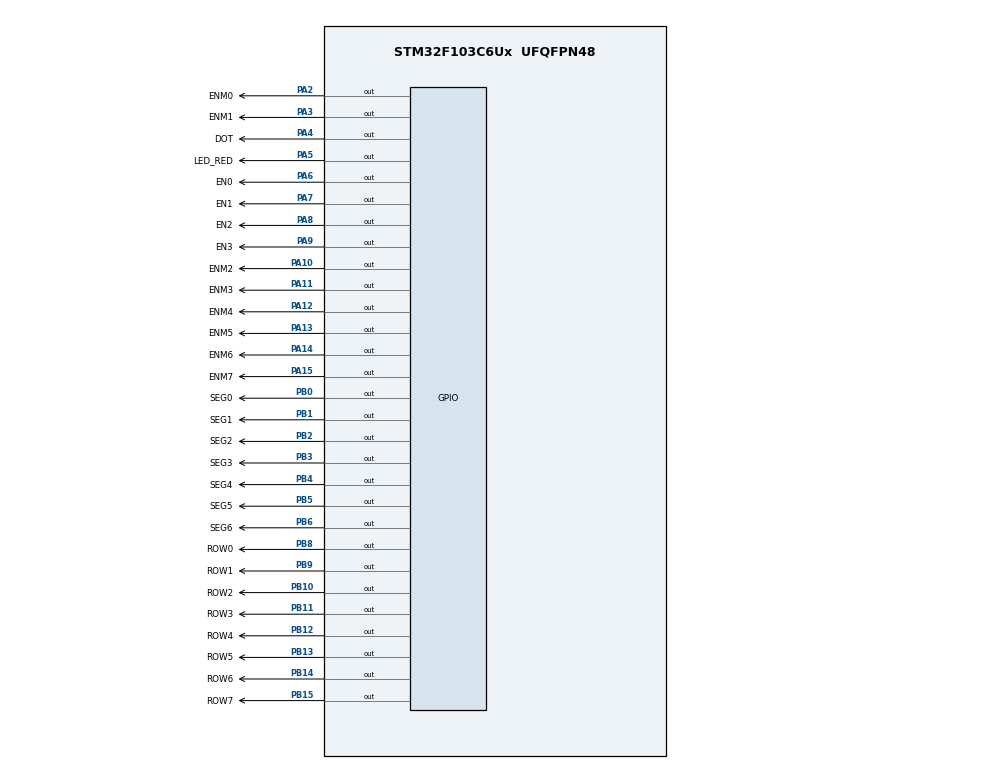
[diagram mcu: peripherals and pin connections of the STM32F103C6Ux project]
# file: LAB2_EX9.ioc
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Mcu.Family=STM32F1
Mcu.Name=STM32F103C6Ux
Mcu.Package=UFQFPN48
NVIC.PriorityGroup=NVIC_PRIORITYGROUP_4
NVIC.TIM2_IRQn=true\:0\:0\:false\:false\:true\:true\:true
PA10.GPIO_Label=ENM2
PA10.Signal=GPIO_Output
PA11.GPIO_Label=ENM3
PA11.Signal=GPIO_Output
PA12.GPIO_Label=ENM4
PA12.Signal=GPIO_Output
PA13.GPIO_Label=ENM5
PA13.Signal=GPIO_Output
PA14.GPIO_Label=ENM6
PA14.Signal=GPIO_Output
PA15.GPIO_Label=ENM7
PA15.Signal=GPIO_Output
PA2.GPIO_Label=ENM0
PA2.Signal=GPIO_Output
PA3.GPIO_Label=ENM1
PA3.Signal=GPIO_Output
PA4.GPIO_Label=DOT
PA4.Signal=GPIO_Output
PA5.GPIO_Label=LED_RED
PA5.Signal=GPIO_Output
PA6.GPIO_Label=EN0
PA6.Signal=GPIO_Output
PA7.GPIO_Label=EN1
PA7.Signal=GPIO_Output
PA8.GPIO_Label=EN2
PA8.Signal=GPIO_Output
PA9.GPIO_Label=EN3
PA9.Signal=GPIO_Output
PB0.GPIO_Label=SEG0
PB0.Signal=GPIO_Output
PB1.GPIO_Label=SEG1
PB1.Signal=GPIO_Output
PB10.GPIO_Label=ROW2
PB10.Signal=GPIO_Output
PB11.GPIO_Label=ROW3
PB11.Signal=GPIO_Output
PB12.GPIO_Label=ROW4
PB12.Signal=GPIO_Output
PB13.GPIO_Label=ROW5
PB13.Signal=GPIO_Output
PB14.GPIO_Label=ROW6
PB14.Signal=GPIO_Output
PB15.GPIO_Label=ROW7
PB15.Signal=GPIO_Output
PB2.GPIO_Label=SEG2
PB2.Signal=GPIO_Output
PB3.GPIO_Label=SEG3
PB3.Signal=GPIO_Output
PB4.GPIO_Label=SEG4
PB4.Signal=GPIO_Output
PB5.GPIO_Label=SEG5
PB5.Signal=GPIO_Output
PB6.GPIO_Label=SEG6
PB6.Signal=GPIO_Output
PB8.GPIO_Label=ROW0
PB8.Signal=GPIO_Output
PB9.GPIO_Label=ROW1
PB9.Signal=GPIO_Output
ProjectManager.HeapSize=0x200
ProjectManager.StackSize=0x400
ProjectManager.TargetToolchain=STM32CubeIDE
RCC.APB1Freq_Value=8000000
RCC.APB2Freq_Value=8000000
TIM2.Period=9
TIM2.Prescaler=7999
VP_SYS_VS_ND.Mode=No_Debug
VP_TIM2_VS_ClockSourceINT.Mode=Internal
board=custom

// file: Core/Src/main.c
/* USER CODE BEGIN Header */
/**
  ******************************************************************************
  * @file           : main.c
  * @brief          : Main program body
  ******************************************************************************
  * @attention
  *
  * <h2><center>&copy; Copyright (c) 2025 STMicroelectronics.
  * All rights reserved.</center></h2>
  *
  * This software component is licensed by ST under BSD 3-Clause license,
  * the "License"; You may not use this file except in compliance with the
  * License. You may obtain a copy of the License at:
  *                        opensource.org/licenses/BSD-3-Clause
  *
  ******************************************************************************
  */
/* USER CODE END Header */
#include "main.h"

/* USER CODE BEGIN Includes */
#include "software_timer.h"
/* USER CODE END Includes */

TIM_HandleTypeDef htim2;

/* USER CODE BEGIN PV */
#define ROW_ON   GPIO_PIN_RESET
#define ROW_OFF  GPIO_PIN_SET

#define ENM_ON   GPIO_PIN_RESET  // active-low enable
#define ENM_OFF  GPIO_PIN_SET

static inline uint8_t remap_rows(uint8_t v){ return v; }
static inline int phys_col(int logical_col){ return logical_col & 7; }

static inline void row_write(uint8_t m){
  HAL_GPIO_WritePin(GPIOB, ROW0_Pin, (m & (1<<0)) ? ROW_ON : ROW_OFF);
  HAL_GPIO_WritePin(GPIOB, ROW1_Pin, (m & (1<<1)) ? ROW_ON : ROW_OFF);
  HAL_GPIO_WritePin(GPIOB, ROW2_Pin, (m & (1<<2)) ? ROW_ON : ROW_OFF);
  HAL_GPIO_WritePin(GPIOB, ROW3_Pin, (m & (1<<3)) ? ROW_ON : ROW_OFF);
  HAL_GPIO_WritePin(GPIOB, ROW4_Pin, (m & (1<<4)) ? ROW_ON : ROW_OFF);
  HAL_GPIO_WritePin(GPIOB, ROW5_Pin, (m & (1<<5)) ? ROW_ON : ROW_OFF);
  HAL_GPIO_WritePin(GPIOB, ROW6_Pin, (m & (1<<6)) ? ROW_ON : ROW_OFF);
  HAL_GPIO_WritePin(GPIOB, ROW7_Pin, (m & (1<<7)) ? ROW_ON : ROW_OFF);
}

static inline void matrix_no_col(void){
  HAL_GPIO_WritePin(ENM0_GPIO_Port, ENM0_Pin, ENM_OFF);
  HAL_GPIO_WritePin(ENM1_GPIO_Port, ENM1_Pin, ENM_OFF);
  HAL_GPIO_WritePin(ENM2_GPIO_Port, ENM2_Pin, ENM_OFF);
  HAL_GPIO_WritePin(ENM3_GPIO_Port, ENM3_Pin, ENM_OFF);
  HAL_GPIO_WritePin(ENM4_GPIO_Port, ENM4_Pin, ENM_OFF);
  HAL_GPIO_WritePin(ENM5_GPIO_Port, ENM5_Pin, ENM_OFF);
  HAL_GPIO_WritePin(ENM6_GPIO_Port, ENM6_Pin, ENM_OFF);
  HAL_GPIO_WritePin(ENM7_GPIO_Port, ENM7_Pin, ENM_OFF);
}

static inline void matrix_yes_col(int col){
  switch(col & 7){
    case 0: HAL_GPIO_WritePin(ENM0_GPIO_Port, ENM0_Pin, ENM_ON); break;
    case 1: HAL_GPIO_WritePin(ENM1_GPIO_Port, ENM1_Pin, ENM_ON); break;
    case 2: HAL_GPIO_WritePin(ENM2_GPIO_Port, ENM2_Pin, ENM_ON); break;
    case 3: HAL_GPIO_WritePin(ENM3_GPIO_Port, ENM3_Pin, ENM_ON); break;
    case 4: HAL_GPIO_WritePin(ENM4_GPIO_Port, ENM4_Pin, ENM_ON); break;
    case 5: HAL_GPIO_WritePin(ENM5_GPIO_Port, ENM5_Pin, ENM_ON); break;
    case 6: HAL_GPIO_WritePin(ENM6_GPIO_Port, ENM6_Pin, ENM_ON); break;
    default:HAL_GPIO_WritePin(ENM7_GPIO_Port, ENM7_Pin, ENM_ON); break;
  }
}
unsigned char tbl7seg [] = {0xC0, 0xF9, 0xA4, 0xB0, 0x99, 0x92, 0x82, 0xF8, 0x80, 0x90};
static uint8_t matrix_buffer[8] = {
  0b00011000,
  0b00100100,
  0b01000010,
  0b01000010,
  0b01111110,
  0b01000010,
  0b01000010,
  0b01000010
};

static uint8_t index_led_matrix = 0;
//int currentLED = 0;
const int MAX_LED = 4;
int index_led = 0;
int led_buffer[4];
int hour = 23, minute = 59, second = 59;
/* USER CODE END PV */

void SystemClock_Config(void);
static void MX_GPIO_Init(void);
static void MX_TIM2_Init(void);

/* USER CODE BEGIN 0 */
void display7SEG(int num);
void update7SEG(int index);
void updateClockBuffer();
void updateLEDMatrix(int index);
/* USER CODE END 0 */

int main(void)
{

  /* MCU Configuration--------------------------------------------------------*/

  /* Reset of all peripherals, Initializes the Flash interface and the Systick. */
  HAL_Init();

  /* Configure the system clock */
  SystemClock_Config();

  /* Initialize all configured peripherals */
  MX_GPIO_Init();
  MX_TIM2_Init();
  /* USER CODE BEGIN 2 */
  HAL_TIM_Base_Start_IT(&htim2);
  updateClockBuffer();
  /* USER CODE END 2 */

  /* Infinite loop */
  /* USER CODE BEGIN WHILE */
  setTimer1(100);
  setTimer2(50);
  setTimer3(100);
  setTimer4(5);
  matrix_no_col();
  row_write(0x00);
  while (1)
  {
	// Cập nhật giây, phút, gi�?
	if (timer1_flag == 1) {
		setTimer1(100); // 1s lại cập nhật 1 lần
		second++;
		if (second >= 60) {
			second = 0;
			minute++;
		}
		if (minute >= 60) {
			minute = 0;
			hour++;
		}
		if (hour >= 24) {
			hour = 0;
		}
		updateClockBuffer();
	}

	// Quét LED liên tục (multiplex nhanh để hiển thị đồng th�?i 4 số)
	if (timer2_flag == 1) {
		setTimer2(50); // ~0.5s quét LED
		update7SEG(index_led);
		index_led = (index_led + 1) % MAX_LED;
	}

	// Blink DOT (PA4) và PA5
	if (timer3_flag == 1) {
		setTimer3(100); // 1s
		HAL_GPIO_TogglePin(LED_RED_GPIO_Port, LED_RED_Pin);
		HAL_GPIO_TogglePin(DOT_GPIO_Port, DOT_Pin);
	}
	if (timer4_flag == 1) {
		index_led_matrix = (index_led_matrix + 1) & 0x07;
		updateLEDMatrix(index_led_matrix);
		setTimer4(5);

	}
    /* USER CODE END WHILE */

  }
}

void SystemClock_Config(void)
{
  RCC_OscInitTypeDef RCC_OscInitStruct = {0};
  RCC_ClkInitTypeDef RCC_ClkInitStruct = {0};

  /** Initializes the RCC Oscillators according to the specified parameters
  * in the RCC_OscInitTypeDef structure.
  */
  RCC_OscInitStruct.OscillatorType = RCC_OSCILLATORTYPE_HSI;
  RCC_OscInitStruct.HSIState = RCC_HSI_ON;
  RCC_OscInitStruct.HSICalibrationValue = RCC_HSICALIBRATION_DEFAULT;
  RCC_OscInitStruct.PLL.PLLState = RCC_PLL_NONE;
  if (HAL_RCC_OscConfig(&RCC_OscInitStruct) != HAL_OK)
  {
    Error_Handler();
  }
  /** Initializes the CPU, AHB and APB buses clocks
  */
  RCC_ClkInitStruct.ClockType = RCC_CLOCKTYPE_HCLK|RCC_CLOCKTYPE_SYSCLK
                              |RCC_CLOCKTYPE_PCLK1|RCC_CLOCKTYPE_PCLK2;
  RCC_ClkInitStruct.SYSCLKSource = RCC_SYSCLKSOURCE_HSI;
  RCC_ClkInitStruct.AHBCLKDivider = RCC_SYSCLK_DIV1;
  RCC_ClkInitStruct.APB1CLKDivider = RCC_HCLK_DIV1;
  RCC_ClkInitStruct.APB2CLKDivider = RCC_HCLK_DIV1;

  if (HAL_RCC_ClockConfig(&RCC_ClkInitStruct, FLASH_LATENCY_0) != HAL_OK)
  {
    Error_Handler();
  }
}

static void MX_TIM2_Init(void)
{

  TIM_ClockConfigTypeDef sClockSourceConfig = {0};
  TIM_MasterConfigTypeDef sMasterConfig = {0};

  htim2.Instance = TIM2;
  htim2.Init.Prescaler = 7999;
  htim2.Init.CounterMode = TIM_COUNTERMODE_UP;
  htim2.Init.Period = 9;
  htim2.Init.ClockDivision = TIM_CLOCKDIVISION_DIV1;
  htim2.Init.AutoReloadPreload = TIM_AUTORELOAD_PRELOAD_DISABLE;
  if (HAL_TIM_Base_Init(&htim2) != HAL_OK)
  {
    Error_Handler();
  }
  sClockSourceConfig.ClockSource = TIM_CLOCKSOURCE_INTERNAL;
  if (HAL_TIM_ConfigClockSource(&htim2, &sClockSourceConfig) != HAL_OK)
  {
    Error_Handler();
  }
  sMasterConfig.MasterOutputTrigger = TIM_TRGO_RESET;
  sMasterConfig.MasterSlaveMode = TIM_MASTERSLAVEMODE_DISABLE;
  if (HAL_TIMEx_MasterConfigSynchronization(&htim2, &sMasterConfig) != HAL_OK)
  {
    Error_Handler();
  }

}

static void MX_GPIO_Init(void)
{
  GPIO_InitTypeDef GPIO_InitStruct = {0};

  /* GPIO Ports Clock Enable */
  __HAL_RCC_GPIOA_CLK_ENABLE();
  __HAL_RCC_GPIOB_CLK_ENABLE();

  /*Configure GPIO pin Output Level */
  HAL_GPIO_WritePin(GPIOA, ENM0_Pin|ENM1_Pin|DOT_Pin|LED_RED_Pin
                          |EN0_Pin|EN1_Pin|EN2_Pin|EN3_Pin
                          |ENM2_Pin|ENM3_Pin|ENM4_Pin|ENM5_Pin
                          |ENM6_Pin|ENM7_Pin, GPIO_PIN_RESET);

  /*Configure GPIO pin Output Level */
  HAL_GPIO_WritePin(GPIOB, SEG0_Pin|SEG1_Pin|SEG2_Pin|ROW2_Pin
                          |ROW3_Pin|ROW4_Pin|ROW5_Pin|ROW6_Pin
                          |ROW7_Pin|SEG3_Pin|SEG4_Pin|SEG5_Pin
                          |SEG6_Pin|ROW0_Pin|ROW1_Pin, GPIO_PIN_RESET);

  /*Configure GPIO pins : ENM0_Pin ENM1_Pin DOT_Pin LED_RED_Pin
                           EN0_Pin EN1_Pin EN2_Pin EN3_Pin
                           ENM2_Pin ENM3_Pin ENM4_Pin ENM5_Pin
                           ENM6_Pin ENM7_Pin */
  GPIO_InitStruct.Pin = ENM0_Pin|ENM1_Pin|DOT_Pin|LED_RED_Pin
                          |EN0_Pin|EN1_Pin|EN2_Pin|EN3_Pin
                          |ENM2_Pin|ENM3_Pin|ENM4_Pin|ENM5_Pin
                          |ENM6_Pin|ENM7_Pin;
  GPIO_InitStruct.Mode = GPIO_MODE_OUTPUT_PP;
  GPIO_InitStruct.Pull = GPIO_NOPULL;
  GPIO_InitStruct.Speed = GPIO_SPEED_FREQ_LOW;
  HAL_GPIO_Init(GPIOA, &GPIO_InitStruct);

  /*Configure GPIO pins : SEG0_Pin SEG1_Pin SEG2_Pin ROW2_Pin
                           ROW3_Pin ROW4_Pin ROW5_Pin ROW6_Pin
                           ROW7_Pin SEG3_Pin SEG4_Pin SEG5_Pin
                           SEG6_Pin ROW0_Pin ROW1_Pin */
  GPIO_InitStruct.Pin = SEG0_Pin|SEG1_Pin|SEG2_Pin|ROW2_Pin
                          |ROW3_Pin|ROW4_Pin|ROW5_Pin|ROW6_Pin
                          |ROW7_Pin|SEG3_Pin|SEG4_Pin|SEG5_Pin
                          |SEG6_Pin|ROW0_Pin|ROW1_Pin;
  GPIO_InitStruct.Mode = GPIO_MODE_OUTPUT_PP;
  GPIO_InitStruct.Pull = GPIO_NOPULL;
  GPIO_InitStruct.Speed = GPIO_SPEED_FREQ_LOW;
  HAL_GPIO_Init(GPIOB, &GPIO_InitStruct);

}

/* USER CODE BEGIN 4 */
void HAL_TIM_PeriodElapsedCallback(TIM_HandleTypeDef *htim) {
	timerRun();
}

void display7SEG(int num) {
    if (num < 0 || num > 9) return;
    GPIOB->ODR = (GPIOB->ODR & 0xFF80) | tbl7seg[num];
}

void update7SEG(int index) {
    // Tắt tất cả LED trước (common anode, OFF = SET)
    HAL_GPIO_WritePin(GPIOA, EN0_Pin|EN1_Pin|EN2_Pin|EN3_Pin, GPIO_PIN_SET);

    switch (index) {
        case 0:
            display7SEG(led_buffer[0]);
            HAL_GPIO_WritePin(GPIOA, EN0_Pin, GPIO_PIN_RESET); // bật LED1
            break;
        case 1:
            display7SEG(led_buffer[1]);
            HAL_GPIO_WritePin(GPIOA, EN1_Pin, GPIO_PIN_RESET); // bật LED2
            break;
        case 2:
            display7SEG(led_buffer[2]);
            HAL_GPIO_WritePin(GPIOA, EN2_Pin, GPIO_PIN_RESET); // bật LED3
            break;
        case 3:
            display7SEG(led_buffer[3]);
            HAL_GPIO_WritePin(GPIOA, EN3_Pin, GPIO_PIN_RESET); // bật LED4
            break;
        default:
            break;
    }
}

void updateClockBuffer() {
    // Gi�?
    led_buffer[0] = hour / 10;
    led_buffer[1] = hour % 10;

    // Phút
    led_buffer[2] = minute / 10;
    led_buffer[3] = minute % 10;
}

void updateLEDMatrix(int index){
  if (index < 0 || index > 7) return;

  matrix_no_col();

  uint8_t colmask = 0;
  for (int r = 0; r < 8; ++r){
    colmask |= ((matrix_buffer[r] >> index) & 1u) << r;
  }

  row_write(colmask);

  switch(index){
    case 0: HAL_GPIO_WritePin(ENM0_GPIO_Port, ENM0_Pin, ENM_ON); break;
    case 1: HAL_GPIO_WritePin(ENM1_GPIO_Port, ENM1_Pin, ENM_ON); break;
    case 2: HAL_GPIO_WritePin(ENM2_GPIO_Port, ENM2_Pin, ENM_ON); break;
    case 3: HAL_GPIO_WritePin(ENM3_GPIO_Port, ENM3_Pin, ENM_ON); break;
    case 4: HAL_GPIO_WritePin(ENM4_GPIO_Port, ENM4_Pin, ENM_ON); break;
    case 5: HAL_GPIO_WritePin(ENM5_GPIO_Port, ENM5_Pin, ENM_ON); break;
    case 6: HAL_GPIO_WritePin(ENM6_GPIO_Port, ENM6_Pin, ENM_ON); break;
    case 7: HAL_GPIO_WritePin(ENM7_GPIO_Port, ENM7_Pin, ENM_ON); break;
    default: break;
  }
}

/* USER CODE END 4 */

void Error_Handler(void)
{
  __disable_irq();
  while (1)
  {
  }
}

/************************ (C) COPYRIGHT STMicroelectronics *****END OF FILE****/
